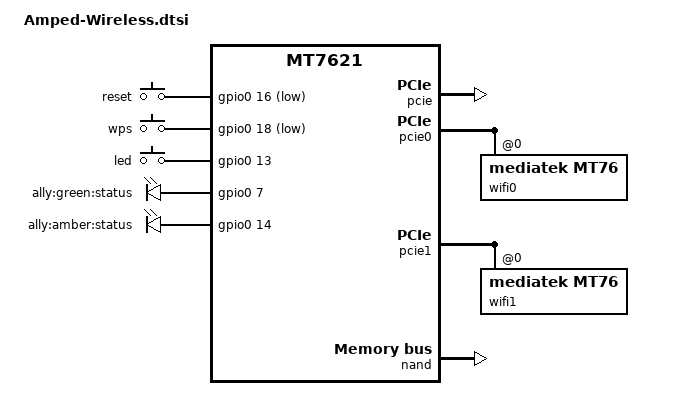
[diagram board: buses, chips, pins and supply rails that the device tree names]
// SPDX-License-Identifier: GPL-2.0-or-later OR MIT
/dts-v1/;

#include "mt7621.dtsi"

#include <dt-bindings/gpio/gpio.h>
#include <dt-bindings/input/input.h>

/ {
	aliases {
		led-boot = &led_status_amber;
		led-failsafe = &led_status_amber;
		led-running = &led_status_green;
		led-upgrade = &led_status_amber;

		label-mac-device = &ethernet;
	};

	chosen {
		bootargs = "console=ttyS0,57600";
	};

	keys {
		compatible = "gpio-keys";

		reset {
			label = "reset";
			gpios = <&gpio0 16 GPIO_ACTIVE_LOW>;
			linux,code = <KEY_RESTART>;
		};

		wps {
			label = "wps";
			gpios = <&gpio0 18 GPIO_ACTIVE_LOW>;
			linux,code = <KEY_WPS_BUTTON>;
		};

		led {
			label = "led";
			gpios = <&gpio0 13 GPIO_ACTIVE_HIGH>;
			linux,code = <KEY_LIGHTS_TOGGLE>;
		};
	};
	
	leds {
		compatible = "gpio-leds";

		led_status_green: status_green {
			label = "ally:green:status";
			gpios = <&gpio0 7 GPIO_ACTIVE_HIGH>;
		};

		led_status_amber: status_amber {
			label = "ally:amber:status";
			gpios = <&gpio0 14 GPIO_ACTIVE_HIGH>;
		};

	};
};

&pcie {
	status = "okay";
};

&pcie0 {
	wifi0: wifi@0,0 {
		compatible = "mediatek,mt76";
		reg = <0x0000 0 0 0 0>;
		mediatek,mtd-eeprom = <&factory 0x0000>;
		ieee80211-freq-limit = <2400000 2500000>;
	};
};

&pcie1 {
	wifi1: wifi@0,0 {
		compatible = "mediatek,mt76";
		reg = <0x0000 0 0 0 0>;
		mediatek,mtd-eeprom = <&factory 0x8000>;
		ieee80211-freq-limit = <5000000 6000000>;
	};
};

&state_default {
	gpio {
		ralink,group = "i2c", "uart3", "uart2", "jtag", "wdt";
		ralink,function = "gpio";
	};
};

&xhci {
	status = "enabled";
};


&nand {
	status = "okay";

	partitions {
		compatible = "fixed-partitions";
		#address-cells = <1>;
		#size-cells = <1>;

		partition@0 {
			label = "u-boot";
			reg = <0x0 0x80000>;
			read-only;
		};

		partition@80000 {
			label = "u-boot-env";
			reg = <0x80000 0x80000>;
		};

		factory: partition@100000 {
			label = "factory";
			reg = <0x100000 0x40000>;
			read-only;
		};

		/* uboot expects to find kernels at 0x140000 & 0x2140000,
		 * referred to as Uimage & Uimage1 in factory FW, respectively.
		 * (I expected Uimage2 (0x4140000) to be a recovery image,
		 * but that region is actually blank)
		 * a kernel is considered suitable for handing control over
		 * if its linux magic number exists & uImage CRC are correct.
		 * If either of those conditions fail, 'bootImage' value
		 * is toggled in uboot env & a restart performed in the hope that the
		 * alternate kernel is okay.
		 * if neither kernel checksums ok and both are marked failed, system 2
		 * is booted anyway.
		 *
		 * Note uboot's tftp flash install writes the transferred
		 * image to both kernel partitions.
		 */

		/* kernel and rootfs are auto-split within firmware partitions */
		partition@140000 {
			label = "firmware";
			reg = <0x140000 0x2000000>;	/* 32MB */
			read-only;
			compatible = "denx,uimage";
		};

		partition@2140000 {
			label = "firmware2";
			reg = <0x2140000 0x2000000>;	/* 32MB */
			compatible = "denx,uimage";
		};

		partition@4140000 {
			label = "unused";
			reg = <0x4140000 0x2000000>;	/* 32MB */
		};

		partition@6140000 {
			label = "chime";
			reg = <0x6140000 0xa00000>;
		};

		partition@6b40000 {
			label = "data";
			reg = <0x6b40000 0xa00000>;
		};

		partition@7540000 {
			label = "reserved";
			reg = <0x7540000 0x840000>;
			read-only;
		};

		partition@7d80000 {
			label = "nvram";
			reg = <0x7d80000 0x100000>;
			read-only;
		};

		partition@7e80000 {
			label = "hwconfig";
			reg = <0x7e80000 0x100000>;
			read-only;
		};
	};
};

